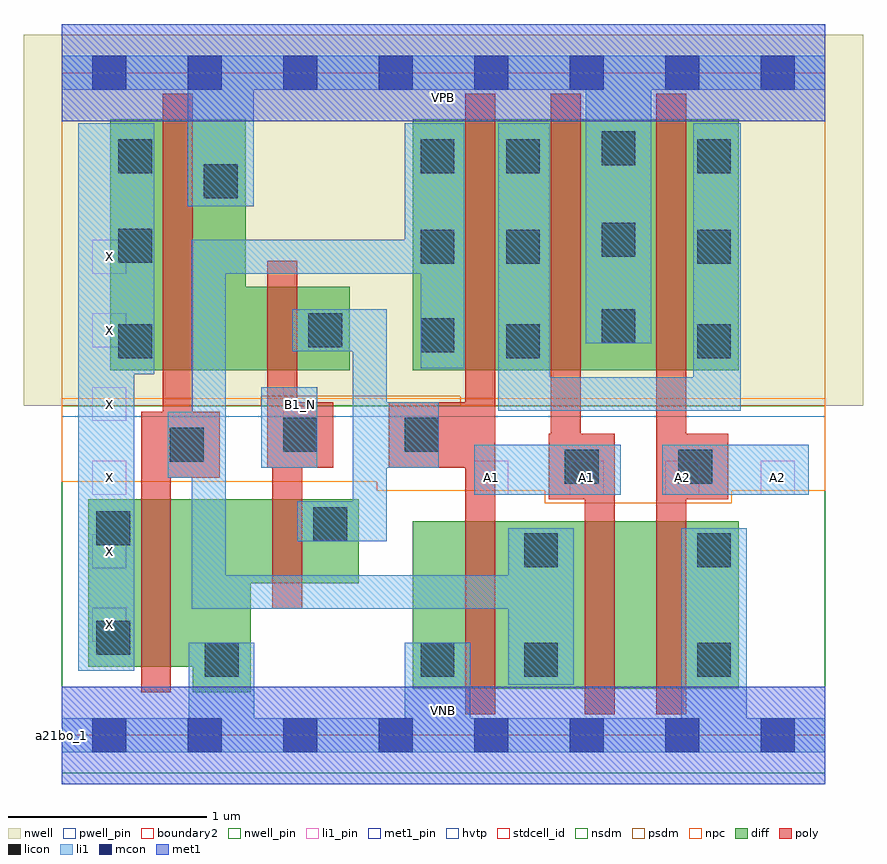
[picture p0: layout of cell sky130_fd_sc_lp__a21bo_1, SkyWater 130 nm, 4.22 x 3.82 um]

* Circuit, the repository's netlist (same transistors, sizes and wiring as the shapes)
* Copyright 2020 The SkyWater PDK Authors
*
* Licensed under the Apache License, Version 2.0 (the "License");
* you may not use this file except in compliance with the License.
* You may obtain a copy of the License at
*
*     https://www.apache.org/licenses/LICENSE-2.0
*
* Unless required by applicable law or agreed to in writing, software
* distributed under the License is distributed on an "AS IS" BASIS,
* WITHOUT WARRANTIES OR CONDITIONS OF ANY KIND, either express or implied.
* See the License for the specific language governing permissions and
* limitations under the License.
*
* SPDX-License-Identifier: Apache-2.0

.SUBCKT sky130_fd_sc_lp__a21bo_1 A1 A2 B1_N VGND VNB VPB VPWR X
*.PININFO A1:I A2:I B1_N:I VGND:I VNB:I VPB:I VPWR:I X:O
MMPA0 pndA A1 VPWR VPB sky130_fd_pr__pfet_01v8_hvt m=1 w=1.26U l=0.15U mult=1 sa=0.265
+ sb=0.265 sd=0.28 area=0.063 perim=1.14
MMPA1 pndA A2 VPWR VPB sky130_fd_pr__pfet_01v8_hvt m=1 w=1.26U l=0.15U mult=1 sa=0.265
+ sb=0.265 sd=0.28 area=0.063 perim=1.14
MMPB0 y B1 pndA VPB sky130_fd_pr__pfet_01v8_hvt m=1 w=1.26U l=0.15U mult=1 sa=0.265
+ sb=0.265 sd=0.28 area=0.063 perim=1.14
MMIPB1N B1 B1_N VPWR VPB sky130_fd_pr__pfet_01v8_hvt m=1 w=0.42U l=0.15U mult=1
+ sa=0.265 sb=0.265 sd=0.28 area=0.063 perim=1.14
MMIPX X y VPWR VPB sky130_fd_pr__pfet_01v8_hvt m=1 w=1.26U l=0.15U mult=1 sa=0.265
+ sb=0.265 sd=0.28 area=0.063 perim=1.14
MMNA0 y A1 sndA1 VNB sky130_fd_pr__nfet_01v8 m=1 w=0.84U l=0.15U mult=1 sa=0.265
+ sb=0.265 sd=0.28 area=0.063 perim=1.14
MMNA1 sndA1 A2 VGND VNB sky130_fd_pr__nfet_01v8 m=1 w=0.84U l=0.15U mult=1 sa=0.265
+ sb=0.265 sd=0.28 area=0.063 perim=1.14
MMNB0 y B1 VGND VNB sky130_fd_pr__nfet_01v8 m=1 w=0.84U l=0.15U mult=1 sa=0.265
+ sb=0.265 sd=0.28 area=0.063 perim=1.14
MMINB1N B1 B1_N VGND VNB sky130_fd_pr__nfet_01v8 m=1 w=0.42U l=0.15U mult=1 sa=0.265
+ sb=0.265 sd=0.28 area=0.063 perim=1.14
MMINX X y VGND VNB sky130_fd_pr__nfet_01v8 m=1 w=0.84U l=0.15U mult=1 sa=0.265
+ sb=0.265 sd=0.28 area=0.063 perim=1.14
.ENDS sky130_fd_sc_lp__a21bo_1

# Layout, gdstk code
import gdstk
lib = gdstk.Library(unit=1e-6, precision=1e-09)
def R(c, l, rs):  # rectangles x0, y0, x1, y1
    for r in rs: c.add(gdstk.rectangle(r[:2], r[2:], *l))
def A(c, l, x, y, w, h, nx, ny, dx, dy):  # array of equal rectangles
    R(c, l, [(x+i*dx, y+j*dy, x+i*dx+w, y+j*dy+h) for i in range(nx) for j in range(ny)])
def P(c, l, *ps):  # polygons
    for p in ps: c.add(gdstk.Polygon(p, *l))
nwell_pin = (64, 16)
nwell = (64, 20)
diff = (65, 20)
poly = (66, 20)
licon = (66, 44)
li1_pin = (67, 16)
li1 = (67, 20)
mcon = (67, 44)
met1_pin = (68, 16)
met1 = (68, 20)
hvtp = (78, 44)
stdcell_id = (81, 4)
nsdm = (93, 44)
psdm = (94, 20)
npc = (95, 20)
pwell_pin = (122, 16)
boundary2 = (236, 0)

sky130_fd_sc_lp__a21bo_1 = lib.new_cell('sky130_fd_sc_lp__a21bo_1')
R(sky130_fd_sc_lp__a21bo_1, nwell_pin, [(0,3.085,3.84,3.33)])
R(sky130_fd_sc_lp__a21bo_1, nwell, [(-0.19,1.655,4.03,3.52)])
R(sky130_fd_sc_lp__a21bo_1, diff, [(1.765,0.235,3.405,1.075), (1.765,1.835,3.405,3.095)])
P(sky130_fd_sc_lp__a21bo_1, diff, [(1.45,2.255),(0.925,2.255),(0.925,3.095),(0.245,3.095),(0.245,1.835),(1.45,1.835)],
  [(1.495,1.185),(0.135,1.185),(0.135,0.345),(0.66,0.345),(0.66,0.215),(0.95,0.215),(0.95,0.765),(1.495,0.765)])
P(sky130_fd_sc_lp__a21bo_1, poly, [(0.795,1.625),(0.66,1.625),(0.66,3.225),(0.51,3.225),(0.51,1.625),(0.4,1.625),(0.4,0.215),(0.55,0.215),(0.55,1.295),(0.795,1.295)],
  [(1.365,1.675),(1.185,1.675),(1.185,2.385),(1.035,2.385),(1.035,1.345),(1.06,1.345),(1.06,0.635),(1.21,0.635),(1.21,1.345),(1.365,1.345)],
  [(2.18,3.225),(2.03,3.225),(2.03,1.675),(1.645,1.675),(1.645,1.345),(2.03,1.345),(2.03,0.105),(2.18,0.105)],
  [(2.78,1.515),(2.61,1.515),(2.61,3.225),(2.46,3.225),(2.46,1.515),(2.45,1.515),(2.45,1.185),(2.63,1.185),(2.63,0.105),(2.78,0.105)],
  [(3.35,1.515),(3.14,1.515),(3.14,3.225),(2.99,3.225),(2.99,0.105),(3.14,0.105),(3.14,1.185),(3.35,1.185)])
R(sky130_fd_sc_lp__a21bo_1, licon, [(0.72,0.295,0.89,0.465), (1.805,0.295,1.975,0.465), (2.325,0.295,2.495,0.465), (3.195,0.295,3.365,0.465), (0.175,0.405,0.345,0.575), (2.325,0.845,2.495,1.015), (3.195,0.845,3.365,1.015), (0.175,0.955,0.345,1.125), (1.265,0.975,1.435,1.145), (2.53,1.265,2.7,1.435), (3.1,1.265,3.27,1.435), (0.545,1.375,0.715,1.545), (1.115,1.425,1.285,1.595), (1.725,1.425,1.895,1.595), (0.285,1.895,0.455,2.065), (2.235,1.895,2.405,2.065), (3.195,1.895,3.365,2.065), (1.805,1.925,1.975,2.095), (1.24,1.95,1.41,2.12), (2.715,1.97,2.885,2.14), (1.805,2.37,1.975,2.54), (2.235,2.37,2.405,2.54), (3.195,2.37,3.365,2.54), (0.285,2.375,0.455,2.545), (2.715,2.405,2.885,2.575), (0.715,2.7,0.885,2.87), (0.285,2.825,0.455,2.995), (1.805,2.825,1.975,2.995), (2.235,2.825,2.405,2.995), (3.195,2.825,3.365,2.995), (2.715,2.865,2.885,3.035)])
A(sky130_fd_sc_lp__a21bo_1, li1_pin, 0.155, 0.47, 0.17, 0.17, 1, 6, 0, 0.37)
A(sky130_fd_sc_lp__a21bo_1, li1_pin, 2.075, 1.21, 0.17, 0.17, 4, 1, 0.48, 0)
R(sky130_fd_sc_lp__a21bo_1, li1_pin, [(1.115,1.58,1.285,1.75)])
R(sky130_fd_sc_lp__a21bo_1, li1, [(2.075,1.21,2.81,1.46), (3.02,1.21,3.755,1.46), (1.005,1.345,1.285,1.75)])
P(sky130_fd_sc_lp__a21bo_1, li1, [(0.635,2.66),(0.635,3.245),(0,3.245),(0,3.415),(3.84,3.415),(3.84,3.245),(2.965,3.245),(2.965,1.97),(2.635,1.97),(2.635,3.245),(0.965,3.245),(0.965,2.66)],
  [(0.64,0.085),(0.64,0.465),(0.97,0.465),(0.97,0.085),(1.725,0.085),(1.725,0.465),(2.055,0.465),(2.055,0.085),(3.115,0.085),(3.115,1.04),(3.445,1.04),(3.445,0.085),(3.84,0.085),(3.84,-0.085),(0,-0.085),(0,0.085)],
  [(1.185,0.975),(1.185,1.175),(1.465,1.175),(1.465,1.93),(1.16,1.93),(1.16,2.14),(1.635,2.14),(1.635,1.675),(1.895,1.675),(1.895,1.345),(1.635,1.345),(1.635,0.975)],
  [(0.085,3.075),(0.465,3.075),(0.465,1.815),(0.365,1.815),(0.365,0.325),(0.085,0.325)],
  [(2.455,1.8),(3.175,1.8),(3.175,3.075),(3.415,3.075),(3.415,1.63),(2.195,1.63),(2.195,3.075),(2.455,3.075)],
  [(0.655,2.49),(1.725,2.49),(1.725,3.075),(2.025,3.075),(2.025,1.845),(1.805,1.845),(1.805,2.32),(0.825,2.32),(0.825,0.805),(2.245,0.805),(2.245,1.04),(2.575,1.04),(2.575,0.255),(2.245,0.255),(2.245,0.635),(0.655,0.635),(0.655,1.295),(0.535,1.295),(0.535,1.625),(0.655,1.625)])
A(sky130_fd_sc_lp__a21bo_1, mcon, 0.155, -0.085, 0.17, 0.17, 8, 2, 0.48, 3.33)
R(sky130_fd_sc_lp__a21bo_1, met1_pin, [(0,0,3.84,0.245), (0,3.085,3.84,3.33)])
R(sky130_fd_sc_lp__a21bo_1, met1, [(0,-0.245,3.84,0.245), (0,3.085,3.84,3.575)])
R(sky130_fd_sc_lp__a21bo_1, hvtp, [(0,1.6,3.84,3.33)])
R(sky130_fd_sc_lp__a21bo_1, stdcell_id, [(0,0,3.84,3.33)])
R(sky130_fd_sc_lp__a21bo_1, nsdm, [(0,-0.19,3.84,1.655)])
P(sky130_fd_sc_lp__a21bo_1, psdm, [(3.84,3.52),(0,3.52),(0,1.655),(1.005,1.655),(1.005,1.705),(2.005,1.705),(2.005,1.655),(3.84,1.655)])
P(sky130_fd_sc_lp__a21bo_1, npc, [(3.84,1.695),(0,1.695),(0,1.275),(1.585,1.275),(1.585,1.23),(2.43,1.23),(2.43,1.165),(3.37,1.165),(3.37,1.23),(3.84,1.23)])
R(sky130_fd_sc_lp__a21bo_1, pwell_pin, [(0,0,3.84,0.245)])
R(sky130_fd_sc_lp__a21bo_1, boundary2, [(0,0,3.84,3.33)])
sky130_fd_sc_lp__a21bo_1.add(gdstk.Label('VNB', (1.92,0.123), layer=64, texttype=59))
sky130_fd_sc_lp__a21bo_1.add(gdstk.Label('VPB', (1.92,3.208), layer=64, texttype=5))
sky130_fd_sc_lp__a21bo_1.add(gdstk.Label('a21bo_1', (0,0), layer=83, texttype=44))
sky130_fd_sc_lp__a21bo_1.add(gdstk.Label('VPWR', (1.92,3.208), layer=68, texttype=5))
sky130_fd_sc_lp__a21bo_1.add(gdstk.Label('VGND', (1.92,0.123), layer=68, texttype=5))
sky130_fd_sc_lp__a21bo_1.add(gdstk.Label('A1', (2.16,1.295), layer=67, texttype=5))
sky130_fd_sc_lp__a21bo_1.add(gdstk.Label('A1', (2.64,1.295), layer=67, texttype=5))
sky130_fd_sc_lp__a21bo_1.add(gdstk.Label('A2', (3.12,1.295), layer=67, texttype=5))
sky130_fd_sc_lp__a21bo_1.add(gdstk.Label('A2', (3.6,1.295), layer=67, texttype=5))
sky130_fd_sc_lp__a21bo_1.add(gdstk.Label('B1_N', (1.2,1.665), layer=67, texttype=5))
sky130_fd_sc_lp__a21bo_1.add(gdstk.Label('X', (0.24,0.555), layer=67, texttype=5))
sky130_fd_sc_lp__a21bo_1.add(gdstk.Label('X', (0.24,0.925), layer=67, texttype=5))
sky130_fd_sc_lp__a21bo_1.add(gdstk.Label('X', (0.24,1.295), layer=67, texttype=5))
sky130_fd_sc_lp__a21bo_1.add(gdstk.Label('X', (0.24,1.665), layer=67, texttype=5))
sky130_fd_sc_lp__a21bo_1.add(gdstk.Label('X', (0.24,2.035), layer=67, texttype=5))
sky130_fd_sc_lp__a21bo_1.add(gdstk.Label('X', (0.24,2.405), layer=67, texttype=5))

lib.write_gds('sky130_fd_sc_lp__a21bo_1.gds')
